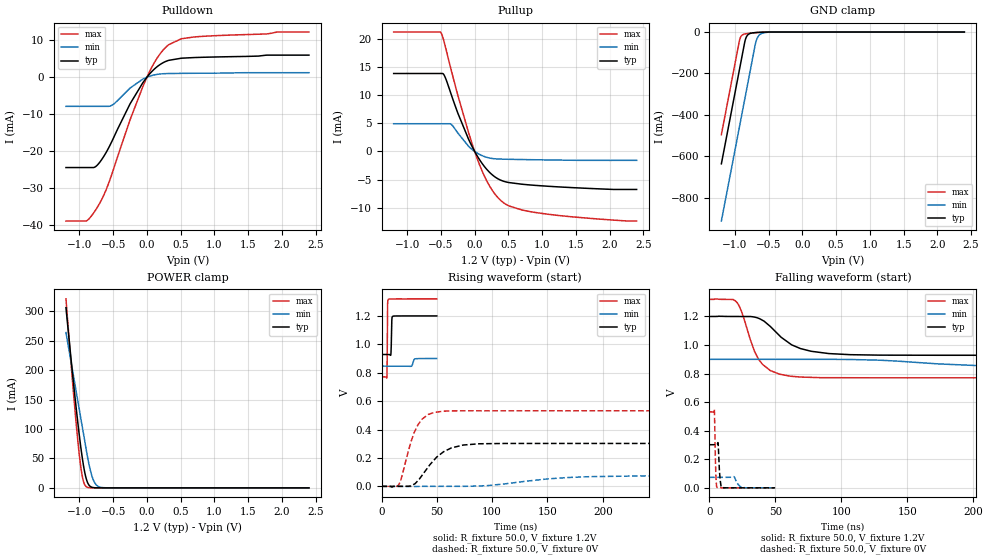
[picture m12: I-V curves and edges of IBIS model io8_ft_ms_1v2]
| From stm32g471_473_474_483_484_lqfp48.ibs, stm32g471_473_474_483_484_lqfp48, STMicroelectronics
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[Model]   io8_ft_ms_1v2
Model_type I/O
Polarity   Non-Inverting
Enable   Active-Low
| CAP_THRESHOLD on pad IOFT is "UDTCAPC" :
| Rising=30.0% of vddiom   Falling=70.0% of vddiom
| C_comp min and max val. don't necessarily correlate with the min and max pvt
| but are the smallest and greatest pad capacitance found.
| var   typ   min   max
C_comp   1.83454pF  1.76050pF  1.83490pF
|C_comp_pullup   1.06365pF  1.01770pF  1.04720pF
|C_comp_pulldown   770.89000fF  742.80001fF  787.70000fF
Vinl = 270.0mV
Vinh = 924.0mV
Vmeas = 600.0mV   | Reference voltage for timing measurements
Cref  = 50.0pF   | Timing specification test load capacitance value
Rref  = 100.0MOhm   | Timing specification test load resistance value
Vref  = 600.0mV   | Timing specification test load voltage
[Model Spec]
| TIME_THRESHOLD on pin ZIV12 is "CMOS" :
| Rising=50.0% of vdd   Falling=50.0% of vdd
Vinl 458.70000mV 364.70000mV 499.70000mV
Vinh 728.30000mV 548.30000mV 792.30000mV
| variable   typ   min   max
[Temperature Range] 25.0 140.0 -40.0
| variable   typ   min   max
[Voltage Range] 1.2V 900.0mV 1.32V
| variable   typ   min   max
[POWER Clamp Reference] 1.2V 900.0mV 1.32V
| variable   typ   min   max
[GND Clamp Reference] 0V 0V 0V
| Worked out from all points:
|   slope of the pulldown table from 0 to 0.18 V, typ, clamps not added: 55.6 ohm
|   slope of the pullup table from 0 to 0.18 V, typ, clamps not added: 56.3 ohm
|   GND clamp passes 1 mA (typ) near -0.61 V on its own axis
|   POWER clamp passes 1 mA (typ) near -0.81 V on its own axis
|   rising waveform, R_fixture 50.0, V_fixture 1.2V: 20-80 % time 434ps typ, 1.31ns min, 279ps max; typ from 0.928 V to 1.2 V
|   falling waveform, R_fixture 50.0, V_fixture 1.2V: 20-80 % time 22.8ns typ, 62.2ns min, 13.6ns max; typ from 1.2 V to 0.928 V
|   rising waveform, R_fixture 50.0, V_fixture 0V: 20-80 % time 20.6ns typ, 53.2ns min, 12.7ns max; typ from 0 V to 0.302 V
|   falling waveform, R_fixture 50.0, V_fixture 0V: 20-80 % time 1.14ns typ, 2.98ns min, 785ps max; typ from 0.302 V to 0 V
[POWER Clamp]
-1.2V     306.2mA    263.9mA    321.2mA
-1.09V    180mA      191mA      163.4mA
-1.05V    136.9mA    164.5mA    110.9mA
-1.01V    96.55mA    138mA      64.02mA
-960mV    52.29mA    104.9mA    20.68mA
-930mV    31.08mA    85.01mA    7.282mA
-900mV    15.67mA    65.13mA    2.025mA
-850mV    3.417mA    35.2mA     196.2uA
-800mV    570.2uA    14.97mA    18.13uA
-750mV    88.98uA    4.952mA    1.667uA
-680mV    6.495uA    823.9uA    58.96nA
2.4V      0A         0A         0A
[GND Clamp]
-1.2V     -636.9mA   -913.2mA   -495.8mA
-940mV    -194.9mA   -471.2mA   -53.78mA
-920mV    -160.9mA   -437.2mA   -28.06mA
-890mV    -109.9mA   -386.2mA   -14.28mA
-850mV    -43.09mA   -318.2mA   -9.18mA
-820mV    -18.33mA   -267.2mA   -7.516mA
-780mV    -7.695mA   -199.2mA   -5.87mA
-690mV    -2.548mA   -49.42mA   -2.9mA
-660mV    -1.868mA   -24.06mA   -2.112mA
-630mV    -1.326mA   -12.18mA   -1.447mA
-430mV    -19.32uA   -177.8uA   -8.091uA
2.4V      300pA      77.2nA     208.1pA
| variable   typ   min   max
[Pullup Reference] 1.2V 900.0mV 1.32V
| variable   typ   min   max
[Pulldown Reference] 0V 0V 0V
[Pullup]
-1.2V     13.87mA    4.927mA    21.25mA
-500mV    13.87mA    4.927mA    21.15mA
-450mV    13.53mA    4.927mA    19.38mA
-350mV    10.23mA    4.844mA    14.6mA
-90mV     2.161mA    908.5uA    3.352mA
40mV      -840.8uA   -309uA     -1.362mA
130mV     -2.46mA    -847.3uA   -4.016mA
230mV     -3.829mA   -1.199mA   -6.331mA
420mV     -5.274mA   -1.376mA   -9.06mA
510mV     -5.544mA   -1.401mA   -9.708mA
900mV     -6.043mA   -1.482mA   -10.87mA
2.4V      -6.768mA   -1.593mA   -12.38mA
[Pulldown]
-1.2V     -24.47mA   -7.9mA     -38.94mA
-890mV    -24.47mA   -7.9mA     -38.83mA
-720mV    -23.49mA   -7.9mA     -34.76mA
-610mV    -20.54mA   -7.9mA     -30.69mA
-510mV    -17.01mA   -7.49mA    -25.69mA
-250mV    -7.205mA   -2.955mA   -11.53mA
0V        -16fA      0A         0A
160mV     2.97mA     779.9uA    5.417mA
320mV     4.547mA    983.4uA    8.763mA
510mV     5.135mA    1.031mA    10.4mA
700mV     5.311mA    1.057mA    10.88mA
2.4V      5.965mA    1.209mA    12.22mA
[Ramp]
dV/dt_r 181.26477mV/20.56352ns 44.07195mV/53.14365ns 319.20364mV/12.72223ns
dV/dt_f 162.9258mV/22.80306ns 32.17064mV/62.22543ns 329.54886mV/13.59962ns
R_load = 50.0
| Removed startup time: 0s 0s 0s  .
| Removed end time: 49.9ns.
[Rising Waveform]
R_fixture   = 50.0
V_fixture   = 1.2V
V_fixture_min = 900.0mV
V_fixture_max = 1.32V
0s        928.4mV    846.3mV    770.7mV
4.8ns     928.5mV    846.4mV    763.4mV
5.1ns     928.5mV    846.4mV    885.5mV
5.3ns     928.5mV    846.4mV    1.14V
5.5ns     928.5mV    846.4mV    1.283V
6.1ns     928.5mV    846.4mV    1.316V
8.4ns     926.3mV    846.4mV    1.319V
9.3ns     1.171V     846.4mV    1.319V
10.1ns    1.197V     846.4mV    1.32V
49.9ns    1.2V       899.9mV    1.32V
| Removed startup time: 0s 0s 0s  .
| Removed end time: 399.9ns.
[Falling Waveform]
R_fixture   = 50.0
V_fixture   = 1.2V
V_fixture_min = 900.0mV
V_fixture_max = 1.32V
0s        1.2V       900mV      1.32V
20.9ns    1.2V       900.5mV    1.3V
24.4ns    1.2V       900.4mV    1.237V
37.4ns    1.188V     900.1mV    899.9mV
46.1ns    1.132V     900mV      822mV
61.1ns    1.01V      900mV      782.1mV
77.1ns    956.5mV    900mV      773.7mV
106.9ns   932.6mV    899mV      770.8mV
210.5ns   928.5mV    855.2mV    770.7mV
399.9ns   928.5mV    846.4mV    770.8mV
| Removed startup time: 0s 0s 0s  .
| Removed end time: 399.9ns.
[Rising Waveform]
R_fixture   = 50.0
V_fixture   = 0V
V_fixture_min = 0V
V_fixture_max = 0V
0s        -21.53uV   -19.2uV    -16.71uV
15.6ns    -135.7uV   13.87nV    10.31mV
26.1ns    2.219mV    28.98uV    301.7mV
32.6ns    37.63mV    -253.4uV   429.5mV
36.6ns    76.23mV    -32.36uV   472.9mV
47.3ns    183.6mV    -27.66uV   520mV
63ns      270.3mV    15.69uV    531.1mV
88ns      299.6mV    2.266mV    532mV
188.8ns   302.1mV    68.31mV    532mV
399.9ns   302.1mV    73.45mV    532mV
| Removed startup time: 0s 0s 0s  .
| Removed end time: 49.9ns.
[Falling Waveform]
R_fixture   = 50.0
V_fixture   = 0V
V_fixture_min = 0V
V_fixture_max = 0V
0s        302.1mV    73.47mV    532mV
3.9ns     302.1mV    73.45mV    546.9mV
4.8ns     302mV      73.45mV    150.2mV
5.8ns     301.2mV    73.45mV    3.196mV
6.7ns     314.3mV    73.45mV    1.275mV
7.9ns     95.79mV    73.46mV    467.5uV
9.5ns     1.819mV    73.46mV    310.4uV
18.9ns    124.6uV    77.56mV    258.3uV
25.3ns    121.1uV    2.105mV    174.8uV
49.9ns    63.52uV    25.87uV    14.61uV
